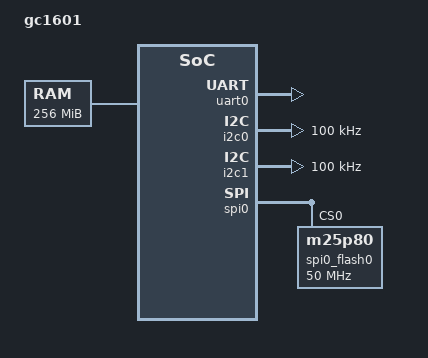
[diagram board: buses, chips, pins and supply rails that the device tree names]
/*
 * Copyright (C) 2014 Faraday, Inc. (www.faraday-tech.com)
 *
 * This program is free software; you can redistribute it and/or modify
 * it under the terms of the GNU General Public License version 2 as
 * published by the Free Software Foundation.
 */
 /dts-v1/;

#include <dt-bindings/interrupt-controller/irq.h>

/  {
	model = "gc1601";
	compatible = "arm,faraday-soc";
	u-boot,dm-pre-reloc;
	interrupt-parent = <&intc>;
	#address-cells = <1>;
	#size-cells = <1>;
	
	aliases {
		u-boot,dm-pre-reloc;
		serial0 = &uart0;
		spi0 = &spi0;
		i2c0 = &i2c0;
		i2c1 = &i2c1;
	};
	
	cpus {
		#address-cells = <1>;
		#size-cells = <0>;
	};

	memory@40000000 {
		device_type = "memory";
		reg = <0x40000000 0x10000000>;
	};

	intc: interrupt-controller@96000000 {
		compatible = "faraday,ftintc030";
		interrupt-controller;
		#interrupt-cells = <2>;
		#address-cells = <1>;
		reg = <0x96000000 0x1000>;
	};

	chosen {
		u-boot,dm-pre-reloc;
		bootargs = "mem=256M console=ttyS0,115200";
		stdout-path = "serial0:115200n8";
		tick-timer = &timer0;
	};
	
	timer0: timer@90200000 {
		u-boot,dm-pre-reloc;
		compatible = "faraday,fttmr010-timer";
		reg = <0x90200000 0x1000>;
		interrupts = <39 IRQ_TYPE_LEVEL_HIGH>;
	};

	uart0: uart@90400000 {
		u-boot,dm-pre-reloc;
		compatible = "ns16550a";
		clock-frequency = <33000000>;
		reg = <0x90400000 0x1000>;
		reg-offset = <0>;
		reg-shift = <2>;
		reg-io-width = <4>;
		no-loopback-test;
		interrupts = <44 IRQ_TYPE_LEVEL_HIGH>;
	};

	i2c0: i2c@90600000 {
		u-boot,dm-pre-reloc;
		compatible = "faraday,fti2c010-i2c";
		dev_id = <0>;
		reg = <0x90600000 0x1000>;
		clock-frequency = <100000>;
		status = "okay";
	};
	
	i2c1: i2c@90700000 {
		u-boot,dm-pre-reloc;
		compatible = "faraday,fti2c010-i2c";
		dev_id = <1>;
		reg = <0x90700000 0x1000>;
		clock-frequency = <100000>;
		status = "okay";
	};

	spi0: spi@a0000000 {
		u-boot,dm-pre-reloc;
		compatible = "faraday,ftspi020_spi";
		reg = <0xa0000000 0x200>;
		num-cs = <4>;
		cs = <0>;
		max_hz = <20000000>;
		interrupts = <46 IRQ_TYPE_LEVEL_HIGH>;
		#address-cells = <1>;
		#size-cells = <0>;
		spi0_flash0: spi0_flash0@0 {
			compatible = "m25p80";
			#address-cells = <1>;
			#size-cells = <1>;
			spi-max-frequency = <50000000>;
			reg = <0>;
		};
	};
};
